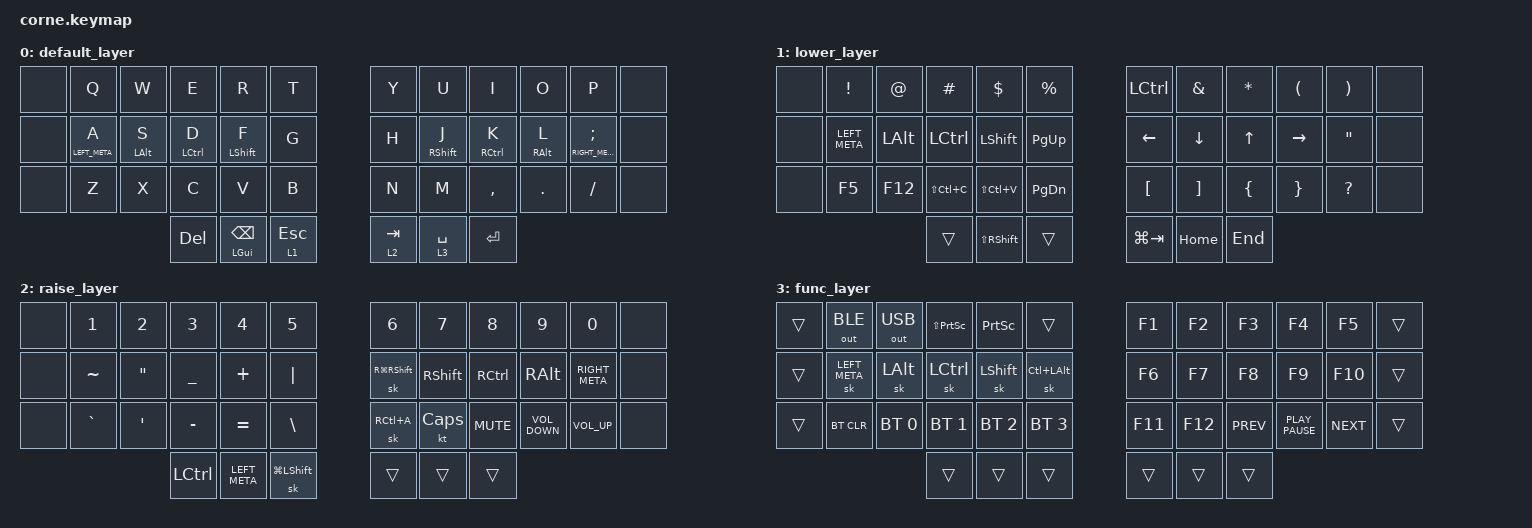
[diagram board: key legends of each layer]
/*
 * Copyright (c) 2020 The ZMK Contributors
 *
 * SPDX-License-Identifier: MIT
 */

#include <behaviors.dtsi>
#include <dt-bindings/zmk/bt.h>
#include <dt-bindings/zmk/keys.h>
#include <dt-bindings/zmk/keys.h>
#include <dt-bindings/zmk/outputs.h>

/ {
    behaviors {
        holdtap_left: holdtap_left {
            compatible = "zmk,behavior-hold-tap";
            label = "HOLDTAP_LEFT";
            bindings = <&kp>, <&kp>;

            #binding-cells = <2>;
            tapping-term-ms = <280>;
            flavor = "balanced";
            quick-tap-ms = <175>;
            hold-trigger-key-positions = <18 19 20 21 22 6 7 8 9 10 11 18 19 20 21 22 23 30 31 32 33 34 35>;
            require-prior-idle-ms = <150>;
            hold-trigger-on-release;
        };

        holdtap_right: holdtap_right {
            compatible = "zmk,behavior-hold-tap";
            label = "HOLDTAP_RIGHT";
            bindings = <&kp>, <&kp>;

            #binding-cells = <2>;
            tapping-term-ms = <280>;
            flavor = "balanced";
            quick-tap-ms = <175>;
            hold-trigger-key-positions = <13 14 15 16 17 13 14 15 16 17 0 1 2 4 5 12 13 14 15 16 17 26 27 28 29 3 24 25>;
            require-prior-idle-ms = <150>;
            hold-trigger-on-release;
        };
    };

    keymap {
        compatible = "zmk,keymap";

        default_layer {
            // -----------------------------------------------------------------------------------------
            // | NONE |  Q  |  W  |  E  |  R  |  T  |   |  Y  |  U   |  I  |  O  |  P  | NONE |
            // | NONE |  A  |  S  |  D  |  F  |  G  |   |  H  |  J   |  K  |  L  |  ;  | NONE |
            // | NONE |  Z  |  X  |  C  |  V  |  B  |   |  N  |  M   |  ,  |  .  |  /  | NONE |
            //                    | GUI | LWR | SPC |   | ENT | RSE  | ALT |

            bindings = <
&none  &kp Q                      &kp W                     &kp E                         &kp R                       &kp T           &kp Y      &kp U                         &kp I                           &kp O                       &kp P                                &none
&none  &holdtap_left LEFT_META A  &holdtap_left LEFT_ALT S  &holdtap_left LEFT_CONTROL D  &holdtap_left LEFT_SHIFT F  &kp G           &kp H      &holdtap_right RIGHT_SHIFT J  &holdtap_right RIGHT_CONTROL K  &holdtap_right RIGHT_ALT L  &holdtap_right RIGHT_META SEMICOLON  &none
&none  &kp Z                      &kp X                     &kp C                         &kp V                       &kp B           &kp N      &kp M                         &kp COMMA                       &kp DOT                     &kp FSLH                             &none
                                                            &kp DELETE                    &mt LEFT_GUI BACKSPACE      &lt 1 ESCAPE    &lt 2 TAB  &lt 3 SPACE                   &kp ENTER
            >;
        };

        lower_layer {
            // -----------------------------------------------------------------------------------------
            // | NONE |  1  |  2  |  3  |  4  |  5  |   |  6  |  7  |  8  |  9  |  0  | NONE |
            // | NONE | BT1 | BT2 | BT3 | BT4 | BT5 |   | LFT | DWN |  UP | RGT |     | NONE |
            // | NONE |     |     |     |     |     |   |     |     |     |     |     | NONE |
            //                    | GUI |     | SPC |   | ENT |     | ALT |

            bindings = <
&none  &kp EXCLAMATION  &kp AT_SIGN   &kp POUND         &kp DOLLAR      &kp PERCENT      &kp LCTRL         &kp AMPERSAND      &kp ASTERISK    &kp LEFT_PARENTHESIS  &kp RIGHT_PARENTHESIS  &none
&none  &kp LEFT_META    &kp LEFT_ALT  &kp LEFT_CONTROL  &kp LEFT_SHIFT  &kp PAGE_UP      &kp LEFT          &kp DOWN           &kp UP          &kp RIGHT             &kp DOUBLE_QUOTES      &none
&none  &kp F5           &kp F12       &kp LS(LC(C))     &kp LS(LC(V))   &kp PAGE_DOWN    &kp LEFT_BRACKET  &kp RIGHT_BRACKET  &kp LEFT_BRACE  &kp RIGHT_BRACE       &kp QUESTION           &none
                                      &trans            &kp LS(RSHIFT)  &trans           &kp LG(TAB)       &kp HOME           &kp END
            >;
        };

        raise_layer {
            // -----------------------------------------------------------------------------------------
            // | NONE |  !  |  @  |  #  |  $  |  %  |   |  ^  |  &  |  *  |  (  |  )  | NONE |
            // | NONE |     |     |     |     |     |   |  -  |  =  |  [  |  ]  |  \  | NONE |
            // | NONE |     |     |     |     |     |   |  _  |  +  |  {  |  }  | "|" | NONE |
            //                    | GUI |     | SPC |   | ENT |     | ALT |

            bindings = <
&none  &kp NUMBER_1  &kp NUMBER_2       &kp NUMBER_3      &kp NUMBER_4   &kp N5                &kp NUMBER_6         &kp N7           &kp N8             &kp N9             &kp N0           &none
&none  &kp TILDE     &kp DOUBLE_QUOTES  &kp UNDERSCORE    &kp PLUS       &kp PIPE              &sk RG(RIGHT_SHIFT)  &kp RIGHT_SHIFT  &kp RIGHT_CONTROL  &kp RIGHT_ALT      &kp RIGHT_META   &none
&none  &kp GRAVE     &kp SQT            &kp MINUS         &kp EQUAL      &kp BACKSLASH         &sk RC(A)            &kt CAPSLOCK     &kp K_MUTE         &kp C_VOLUME_DOWN  &kp C_VOLUME_UP  &none
                                        &kp LEFT_CONTROL  &kp LEFT_META  &sk LG(LEFT_SHIFT)    &trans               &trans           &trans
            >;
        };

        func_layer {
            bindings = <
&trans  &out OUT_BLE   &out OUT_USB  &kp LS(PRINTSCREEN)  &kp PRINTSCREEN  &trans              &kp F1   &kp F2   &kp F3      &kp F4            &kp F5      &trans
&trans  &sk LEFT_META  &sk LEFT_ALT  &sk LEFT_CONTROL     &sk LEFT_SHIFT   &sk LC(LEFT_ALT)    &kp F6   &kp F7   &kp F8      &kp F9            &kp F10     &trans
&trans  &bt BT_CLR     &bt BT_SEL 0  &bt BT_SEL 1         &bt BT_SEL 2     &bt BT_SEL 3        &kp F11  &kp F12  &kp K_PREV  &kp K_PLAY_PAUSE  &kp K_NEXT  &trans
                                     &trans               &trans           &trans              &trans   &trans   &trans
            >;
        };
    };
};
